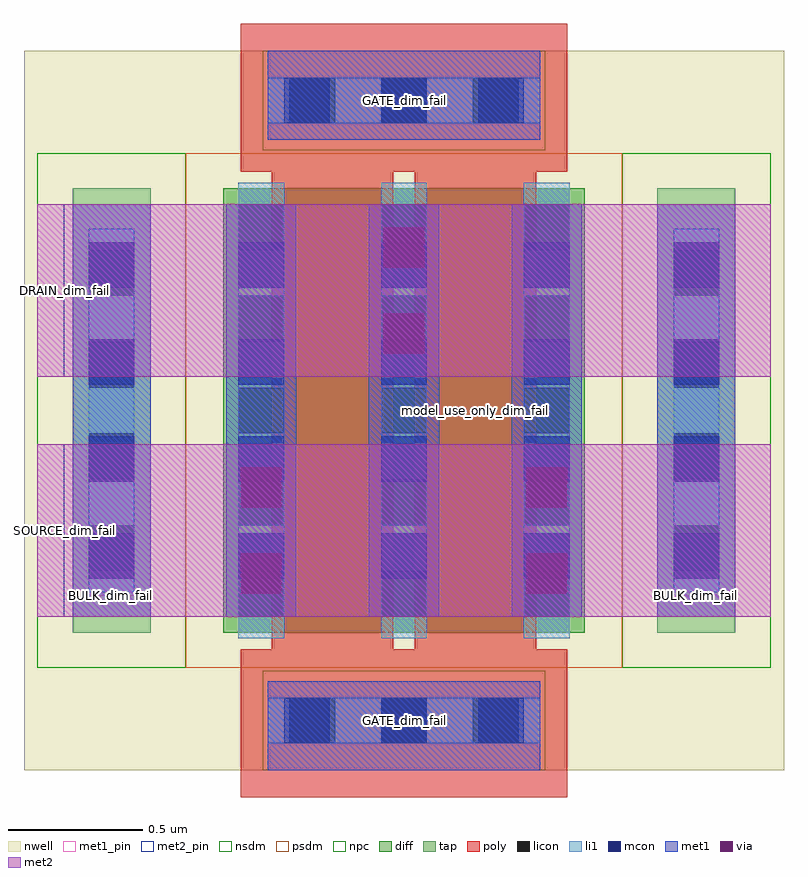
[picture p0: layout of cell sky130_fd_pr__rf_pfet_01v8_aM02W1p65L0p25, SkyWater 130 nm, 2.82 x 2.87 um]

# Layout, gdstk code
import gdstk
lib = gdstk.Library(unit=1e-6, precision=1e-09)
def R(c, l, rs):  # rectangles x0, y0, x1, y1
    for r in rs: c.add(gdstk.rectangle(r[:2], r[2:], *l))
def A(c, l, x, y, w, h, nx, ny, dx, dy):  # array of equal rectangles
    R(c, l, [(x+i*dx, y+j*dy, x+i*dx+w, y+j*dy+h) for i in range(nx) for j in range(ny)])
def P(c, l, *ps):  # polygons
    for p in ps: c.add(gdstk.Polygon(p, *l))
nwell = (64, 20)
diff = (65, 20)
tap = (65, 44)
poly = (66, 20)
licon = (66, 44)
li1 = (67, 20)
mcon = (67, 44)
met1_pin = (68, 16)
met1 = (68, 20)
via = (68, 44)
met2_pin = (69, 16)
met2 = (69, 20)
nsdm = (93, 44)
psdm = (94, 20)
npc = (95, 20)

sky130_fd_pr__rf_pfet_01 = lib.new_cell('sky130_fd_pr__rf_pfet_01v8_aM02W1p65L0p25')
R(sky130_fd_pr__rf_pfet_01, nwell, [(0,0,2.82,2.67)])
R(sky130_fd_pr__rf_pfet_01, diff, [(0.74,0.51,2.08,2.16)])
R(sky130_fd_pr__rf_pfet_01, tap, [(0.18,0.51,0.47,2.16), (2.35,0.51,2.64,2.16)])
P(sky130_fd_pr__rf_pfet_01, poly, [(0.805,-0.1),(0.805,0.45),(0.92,0.45),(0.92,2.22),(1.37,2.22),(1.37,0.45),(1.45,0.45),(1.45,2.22),(0.805,2.22),(0.805,2.77),(2.015,2.77),(2.015,2.22),(1.9,2.22),(1.9,0.45),(2.015,0.45),(2.015,-0.1)])
A(sky130_fd_pr__rf_pfet_01, licon, 0.985, 0.1, 0.17, 0.17, 3, 2, 0.34, 2.3)
A(sky130_fd_pr__rf_pfet_01, licon, 0.795, 0.57, 0.17, 0.17, 3, 5, 0.53, 0.34)
A(sky130_fd_pr__rf_pfet_01, licon, 0.24, 0.74, 0.17, 0.17, 1, 4, 0, 0.34)
A(sky130_fd_pr__rf_pfet_01, licon, 2.41, 0.74, 0.17, 0.17, 1, 4, 0, 0.34)
A(sky130_fd_pr__rf_pfet_01, li1, 0.795, 0.49, 0.17, 1.69, 3, 1, 0.53, 0)
R(sky130_fd_pr__rf_pfet_01, li1, [(0.905,0.1,1.915,0.27), (0.965,0.1,1.855,0.27), (0.24,0.66,0.41,2.01), (2.41,0.66,2.58,2.01), (0.905,2.4,1.915,2.57), (0.965,2.4,1.855,2.57)])
A(sky130_fd_pr__rf_pfet_01, mcon, 0.965, 0.1, 0.17, 0.17, 3, 2, 0.36, 2.3)
A(sky130_fd_pr__rf_pfet_01, mcon, 0.24, 0.71, 0.17, 0.17, 1, 4, 0, 0.36)
A(sky130_fd_pr__rf_pfet_01, mcon, 0.795, 0.71, 0.17, 0.17, 3, 4, 0.53, 0.36)
A(sky130_fd_pr__rf_pfet_01, mcon, 2.41, 0.71, 0.17, 0.17, 1, 4, 0, 0.36)
R(sky130_fd_pr__rf_pfet_01, met1_pin, [(0.905,0,1.915,0.33), (0.18,0.57,0.47,0.65), (2.35,0.57,2.64,0.65), (0.905,2.34,1.915,2.67)])
A(sky130_fd_pr__rf_pfet_01, met1, 0.75, 0.57, 0.26, 1.53, 3, 1, 0.53, 0)
R(sky130_fd_pr__rf_pfet_01, met1, [(0.905,0,1.915,0.33), (0.18,0.57,0.47,2.1), (2.35,0.57,2.64,2.1), (0.905,2.34,1.915,2.67)])
R(sky130_fd_pr__rf_pfet_01, via, [(0.805,0.655,0.955,0.805), (1.865,0.655,2.015,0.805), (0.805,0.975,0.955,1.125), (1.865,0.975,2.015,1.125), (1.335,1.545,1.485,1.695), (1.335,1.865,1.485,2.015)])
R(sky130_fd_pr__rf_pfet_01, met2_pin, [(0.05,0.57,0.15,1.21), (0.05,1.46,0.15,2.1)])
R(sky130_fd_pr__rf_pfet_01, met2, [(0.05,0.57,2.77,1.21), (0.05,1.46,2.77,2.1)])
R(sky130_fd_pr__rf_pfet_01, nsdm, [(0.05,0.38,0.6,2.29), (2.22,0.38,2.77,2.29)])
R(sky130_fd_pr__rf_pfet_01, psdm, [(0.6,0.38,2.22,2.29)])
R(sky130_fd_pr__rf_pfet_01, npc, [(0.885,0,1.935,0.37), (0.885,2.3,1.935,2.67)])
sky130_fd_pr__rf_pfet_01.add(gdstk.Label('model_use_only_dim_fail', (1.675,1.335), layer=66, texttype=83))
sky130_fd_pr__rf_pfet_01.add(gdstk.Label('model_use_only_dim_fail', (1.145,1.335), layer=66, texttype=83))
sky130_fd_pr__rf_pfet_01.add(gdstk.Label('SOURCE_dim_fail', (0.15,0.89), layer=69, texttype=5))
sky130_fd_pr__rf_pfet_01.add(gdstk.Label('DRAIN_dim_fail', (0.15,1.78), layer=69, texttype=5))
sky130_fd_pr__rf_pfet_01.add(gdstk.Label('BULK_dim_fail', (2.49,0.65), layer=68, texttype=5))
sky130_fd_pr__rf_pfet_01.add(gdstk.Label('GATE_dim_fail', (1.41,0.185), layer=68, texttype=5))
sky130_fd_pr__rf_pfet_01.add(gdstk.Label('GATE_dim_fail', (1.41,2.485), layer=68, texttype=5))
sky130_fd_pr__rf_pfet_01.add(gdstk.Label('BULK_dim_fail', (0.32,0.65), layer=68, texttype=5))

lib.write_gds('sky130_fd_pr__rf_pfet_01v8_aM02W1p65L0p25.gds')
